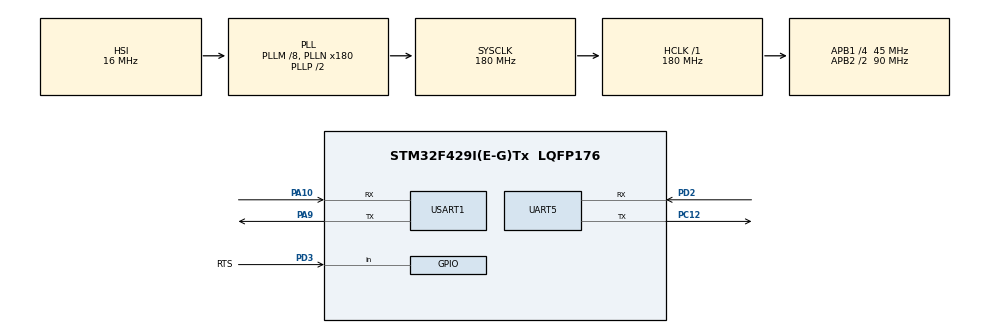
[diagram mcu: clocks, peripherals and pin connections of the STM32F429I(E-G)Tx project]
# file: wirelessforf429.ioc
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Mcu.Family=STM32F4
Mcu.Name=STM32F429I(E-G)Tx
Mcu.Package=LQFP176
NVIC.PriorityGroup=NVIC_PRIORITYGROUP_4
NVIC.UART5_IRQn=true\:0\:0\:false\:false\:true\:true\:true
PA10.Mode=Asynchronous
PA10.Signal=USART1_RX
PA13.Mode=Serial_Wire
PA13.Signal=SYS_JTMS-SWDIO
PA14.Mode=Serial_Wire
PA14.Signal=SYS_JTCK-SWCLK
PA9.Mode=Asynchronous
PA9.Signal=USART1_TX
PC12.Mode=Asynchronous
PC12.Signal=UART5_TX
PD2.Mode=Asynchronous
PD2.Signal=UART5_RX
PD3.GPIO_Label=RTS
PD3.Signal=GPIO_Input
PH0/OSC_IN.Mode=HSE-External-Oscillator
PH0/OSC_IN.Signal=RCC_OSC_IN
PH1/OSC_OUT.Mode=HSE-External-Oscillator
PH1/OSC_OUT.Signal=RCC_OSC_OUT
ProjectManager.HeapSize=0x200
ProjectManager.StackSize=0x400
ProjectManager.TargetToolchain=MDK-ARM V5.27
RCC.48MHZClocksFreq_Value=90000000
RCC.AHBFreq_Value=180000000
RCC.APB1CLKDivider=RCC_HCLK_DIV4
RCC.APB1Freq_Value=45000000
RCC.APB1TimFreq_Value=90000000
RCC.APB2CLKDivider=RCC_HCLK_DIV2
RCC.APB2Freq_Value=90000000
RCC.APB2TimFreq_Value=180000000
RCC.CortexFreq_Value=180000000
RCC.HCLKFreq_Value=180000000
RCC.HSE_VALUE=25000000
RCC.HSI_VALUE=16000000
RCC.LSE_VALUE=32768
RCC.PLLM=8
RCC.PLLN=180
RCC.SYSCLKFreq_VALUE=180000000
RCC.SYSCLKSource=RCC_SYSCLKSOURCE_PLLCLK
RCC.VCOOutputFreq_Value=360000000
UART5.VirtualMode=Asynchronous
USART1.VirtualMode=VM_ASYNC
board=custom

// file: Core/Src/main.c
/* USER CODE BEGIN Header */
/**
  ******************************************************************************
  * @file           : main.c
  * @brief          : Main program body
  ******************************************************************************
  * @attention
  *
  * <h2><center>&copy; Copyright (c) 2021 STMicroelectronics.
  * All rights reserved.</center></h2>
  *
  * This software component is licensed by ST under BSD 3-Clause license,
  * the "License"; You may not use this file except in compliance with the
  * License. You may obtain a copy of the License at:
  *                        opensource.org/licenses/BSD-3-Clause
  *
  ******************************************************************************
  */
/* USER CODE END Header */
#include "main.h"
#include "usart.h"
#include "gpio.h"

/* USER CODE BEGIN Includes */

#include <stdio.h>

/* USER CODE END Includes */

void SystemClock_Config(void);

/* USER CODE BEGIN 0 */

/* printf重定向 */
int fputc(int ch,FILE *f)
{
	uint8_t temp[1]= {ch};
	HAL_UART_Transmit(&huart1,temp,1,0xFFFF);
	return 0;
}

uint8_t rx_buff;
uint8_t rx_buff2[3];
void HAL_UART_RxCpltCallback(UART_HandleTypeDef *huart)
{
	int16_t time;
	//HAL_UART_Transmit(&huart5,&rx_buff,1,100);  /* 数据回传 */
	printf("%d\n", rx_buff2[0]);
	printf("%d\n", rx_buff2[1]);
	printf("%d\n", rx_buff2[2]);

	while(HAL_UART_Receive_IT(&huart5,&rx_buff,3) != HAL_OK){
		time++;
		if(time > 200){
			huart1.RxState = HAL_UART_STATE_READY;
			__HAL_UNLOCK(&huart5);
		}
	}
}

void HAL_UART_ErrorCallback(UART_HandleTypeDef *huart)
{
	if(__HAL_UART_GET_FLAG(huart,UART_FLAG_ORE) != RESET)
	{
			__HAL_UART_CLEAR_OREFLAG(huart);
	}
	HAL_UART_Receive_IT(huart,&rx_buff,1);
}

/* USER CODE END 0 */

int main(void)
{
  /* USER CODE BEGIN 1 */

	uint8_t i;
	uint8_t test[] = "逐飞科技无线转串口测试==逐飞科技无线转串口测试\r\n";

  /* USER CODE END 1 */

  /* MCU Configuration--------------------------------------------------------*/

  /* Reset of all peripherals, Initializes the Flash interface and the Systick. */
  HAL_Init();

  /* Configure the system clock */
  SystemClock_Config();

  /* Initialize all configured peripherals */
  MX_GPIO_Init();
  MX_UART5_Init();
  MX_USART1_UART_Init();
  /* USER CODE BEGIN 2 */

	HAL_UART_Receive_IT(&huart5,rx_buff2,3);
	__HAL_UART_ENABLE_IT(&huart5, UART_IT_ERR);

  /* USER CODE END 2 */

  /* Infinite loop */
  /* USER CODE BEGIN WHILE */
  while (1)
  {

		if(!HAL_GPIO_ReadPin(RTS_GPIO_Port,RTS_Pin)) printf("逐飞科技无线转串口测试\r\n");//一次发送数据最好不要超过30字节
		if(!HAL_GPIO_ReadPin(RTS_GPIO_Port,RTS_Pin)){
			i = 0;
			while(test[i] != '\0'){
				while(HAL_GPIO_ReadPin(RTS_GPIO_Port,RTS_Pin));   //等待模块可以接受数据
				HAL_UART_Transmit(&huart5,&test[i],1,100);
				i++;
			}
		}
		HAL_Delay(500);

    /* USER CODE END WHILE */

  }
}

void SystemClock_Config(void)
{
  RCC_OscInitTypeDef RCC_OscInitStruct = {0};
  RCC_ClkInitTypeDef RCC_ClkInitStruct = {0};

  /** Configure the main internal regulator output voltage
  */
  __HAL_RCC_PWR_CLK_ENABLE();
  __HAL_PWR_VOLTAGESCALING_CONFIG(PWR_REGULATOR_VOLTAGE_SCALE1);
  /** Initializes the RCC Oscillators according to the specified parameters
  * in the RCC_OscInitTypeDef structure.
  */
  RCC_OscInitStruct.OscillatorType = RCC_OSCILLATORTYPE_HSI;
  RCC_OscInitStruct.HSIState = RCC_HSI_ON;
  RCC_OscInitStruct.HSICalibrationValue = RCC_HSICALIBRATION_DEFAULT;
  RCC_OscInitStruct.PLL.PLLState = RCC_PLL_ON;
  RCC_OscInitStruct.PLL.PLLSource = RCC_PLLSOURCE_HSI;
  RCC_OscInitStruct.PLL.PLLM = 8;
  RCC_OscInitStruct.PLL.PLLN = 180;
  RCC_OscInitStruct.PLL.PLLP = RCC_PLLP_DIV2;
  RCC_OscInitStruct.PLL.PLLQ = 4;
  if (HAL_RCC_OscConfig(&RCC_OscInitStruct) != HAL_OK)
  {
    Error_Handler();
  }
  /** Activate the Over-Drive mode
  */
  if (HAL_PWREx_EnableOverDrive() != HAL_OK)
  {
    Error_Handler();
  }
  /** Initializes the CPU, AHB and APB buses clocks
  */
  RCC_ClkInitStruct.ClockType = RCC_CLOCKTYPE_HCLK|RCC_CLOCKTYPE_SYSCLK
                              |RCC_CLOCKTYPE_PCLK1|RCC_CLOCKTYPE_PCLK2;
  RCC_ClkInitStruct.SYSCLKSource = RCC_SYSCLKSOURCE_PLLCLK;
  RCC_ClkInitStruct.AHBCLKDivider = RCC_SYSCLK_DIV1;
  RCC_ClkInitStruct.APB1CLKDivider = RCC_HCLK_DIV4;
  RCC_ClkInitStruct.APB2CLKDivider = RCC_HCLK_DIV2;

  if (HAL_RCC_ClockConfig(&RCC_ClkInitStruct, FLASH_LATENCY_5) != HAL_OK)
  {
    Error_Handler();
  }
}

void Error_Handler(void)
{
  __disable_irq();
  while (1)
  {
  }
}

/************************ (C) COPYRIGHT STMicroelectronics *****END OF FILE****/
